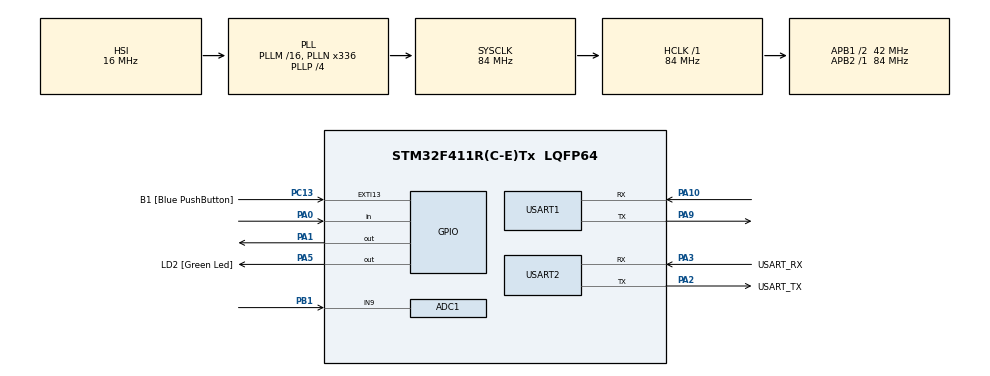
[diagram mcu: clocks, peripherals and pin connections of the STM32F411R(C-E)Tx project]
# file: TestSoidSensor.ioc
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ADC1.Channel-0\#ChannelRegularConversion=ADC_CHANNEL_9
ADC1.ContinuousConvMode=ENABLE
ADC1.DMAContinuousRequests=ENABLE
ADC1.NbrOfConversionFlag=1
ADC1.Rank-0\#ChannelRegularConversion=1
ADC1.SamplingTime-0\#ChannelRegularConversion=ADC_SAMPLETIME_3CYCLES
ADC1.ScanConvMode=ENABLE
ADC1.master=1
Dma.ADC1.0.Direction=DMA_PERIPH_TO_MEMORY
Dma.ADC1.0.FIFOMode=DMA_FIFOMODE_DISABLE
Dma.ADC1.0.Instance=DMA2_Stream0
Dma.ADC1.0.MemDataAlignment=DMA_MDATAALIGN_WORD
Dma.ADC1.0.MemInc=DMA_MINC_ENABLE
Dma.ADC1.0.Mode=DMA_CIRCULAR
Dma.ADC1.0.PeriphDataAlignment=DMA_PDATAALIGN_WORD
Dma.ADC1.0.PeriphInc=DMA_PINC_DISABLE
Dma.ADC1.0.Priority=DMA_PRIORITY_LOW
Dma.Request0=ADC1
Mcu.Family=STM32F4
Mcu.Name=STM32F411R(C-E)Tx
Mcu.Package=LQFP64
NVIC.DMA2_Stream0_IRQn=true\:0\:0\:false\:false\:true\:false\:true\:true
NVIC.PriorityGroup=NVIC_PRIORITYGROUP_0
PA0-WKUP.Signal=GPIO_Input
PA1.Signal=GPIO_Output
PA10.Mode=Asynchronous
PA10.Signal=USART1_RX
PA13.GPIO_Label=TMS
PA13.Mode=Serial_Wire
PA13.Signal=SYS_JTMS-SWDIO
PA14.GPIO_Label=TCK
PA14.Mode=Serial_Wire
PA14.Signal=SYS_JTCK-SWCLK
PA2.GPIO_Label=USART_TX
PA2.Mode=Asynchronous
PA2.Signal=USART2_TX
PA3.GPIO_Label=USART_RX
PA3.Mode=Asynchronous
PA3.Signal=USART2_RX
PA5.GPIO_Label=LD2 [Green Led]
PA5.Signal=GPIO_Output
PA9.Mode=Asynchronous
PA9.Signal=USART1_TX
PB1.Signal=ADCx_IN9
PB3.GPIO_Label=SWO
PB3.Signal=SYS_JTDO-SWO
PC13-ANTI_TAMP.GPIO_Label=B1 [Blue PushButton]
PC13-ANTI_TAMP.GPIO_ModeDefaultEXTI=GPIO_MODE_IT_FALLING
PC13-ANTI_TAMP.Signal=GPXTI13
PC14-OSC32_IN.Mode=LSE-External-Oscillator
PC14-OSC32_IN.Signal=RCC_OSC32_IN
PC15-OSC32_OUT.Mode=LSE-External-Oscillator
PC15-OSC32_OUT.Signal=RCC_OSC32_OUT
PH0\ -\ OSC_IN.Mode=HSE-External-Clock-Source
PH0\ -\ OSC_IN.Signal=RCC_OSC_IN
PH1\ -\ OSC_OUT.Mode=HSE-External-Clock-Source
PH1\ -\ OSC_OUT.Signal=RCC_OSC_OUT
ProjectManager.HeapSize=0x200
ProjectManager.StackSize=0x400
ProjectManager.TargetToolchain=STM32CubeIDE
RCC.48MHZClocksFreq_Value=84000000
RCC.AHBFreq_Value=84000000
RCC.APB1CLKDivider=RCC_HCLK_DIV2
RCC.APB1Freq_Value=42000000
RCC.APB1TimFreq_Value=84000000
RCC.APB2Freq_Value=84000000
RCC.APB2TimFreq_Value=84000000
RCC.CortexFreq_Value=84000000
RCC.FLatency-AdvancedSettings=FLASH_LATENCY_2
RCC.HCLKFreq_Value=84000000
RCC.HSE_VALUE=8000000
RCC.HSI_VALUE=16000000
RCC.PLLN=336
RCC.PLLP=RCC_PLLP_DIV4
RCC.SYSCLKFreq_VALUE=84000000
RCC.SYSCLKSource=RCC_SYSCLKSOURCE_PLLCLK
RCC.VCOOutputFreq_Value=336000000
SH.ADCx_IN9.0=ADC1_IN9,IN9
USART1.VirtualMode=VM_ASYNC
USART2.VirtualMode=VM_ASYNC
board=NUCLEO-F411RE

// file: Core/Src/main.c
/* USER CODE BEGIN Header */
/**
  ******************************************************************************
  * @file           : main.c
  * @brief          : Main program body
  ******************************************************************************
  * @attention
  *
  * Copyright (c) 2025 STMicroelectronics.
  * All rights reserved.
  *
  * This software is licensed under terms that can be found in the LICENSE file
  * in the root directory of this software component.
  * If no LICENSE file comes with this software, it is provided AS-IS.
  *
  ******************************************************************************
  */
/* USER CODE END Header */
#include "main.h"

/* USER CODE BEGIN Includes */
#include <stdio.h>
#include <string.h>
/* USER CODE END Includes */

/* USER CODE BEGIN PD */
#define BASE_DRY_THRESHOLD 3000 // Adjust based on your sensor calibration
#define HOT_TEMP_THRESHOLD 30   // If temp > 30C, water sooner
/* USER CODE END PD */

ADC_HandleTypeDef hadc1;
DMA_HandleTypeDef hdma_adc1;

UART_HandleTypeDef huart1;
UART_HandleTypeDef huart2;

/* USER CODE BEGIN PV */

uint8_t humidity_int, humidity_dec, temp_int, temp_dec, checksum;
/* USER CODE END PV */

void SystemClock_Config(void);
static void MX_GPIO_Init(void);
static void MX_DMA_Init(void);
static void MX_USART2_UART_Init(void);
static void MX_ADC1_Init(void);
static void MX_USART1_UART_Init(void);

/* USER CODE BEGIN 0 */
uint16_t soil_read[1];
char tx_buffer[20];

//uint8_t humidity_int;
//uint8_t temp_int;

uint8_t DHT11_Read(void);

int _write(int file, char *ptr, int len) {
    HAL_UART_Transmit(&huart2, (uint8_t*)ptr, len, HAL_MAX_DELAY);
    HAL_UART_Transmit(&huart1, (uint8_t*)ptr, len, HAL_MAX_DELAY);
    return len;
}

// Enable DWT cycle counter for microsecond delays
void DWT_Init(void) {
    CoreDebug->DEMCR |= CoreDebug_DEMCR_TRCENA_Msk;
    DWT->CTRL |= DWT_CTRL_CYCCNTENA_Msk;
}

void delay_us(uint32_t us) {
    uint32_t start = DWT->CYCCNT;
    uint32_t ticks = us * (SystemCoreClock / 1000000);
    while ((DWT->CYCCNT - start) < ticks);
}
/* USER CODE END 0 */

int main(void)
{

  /* MCU Configuration--------------------------------------------------------*/

  /* Reset of all peripherals, Initializes the Flash interface and the Systick. */
  HAL_Init();

  /* Configure the system clock */
  SystemClock_Config();

  /* Initialize all configured peripherals */
  MX_GPIO_Init();
  MX_DMA_Init();
  MX_USART2_UART_Init();
  MX_ADC1_Init();
  MX_USART1_UART_Init();
  /* USER CODE BEGIN 2 */
  HAL_ADC_Start_DMA(&hadc1, soil_read, 1);
  HAL_NVIC_DisableIRQ(DMA2_Stream0_IRQn);

  DWT_Init();
  /* USER CODE END 2 */

  /* Infinite loop */
  /* USER CODE BEGIN WHILE */
    while (1)
    {
        // 1. Read Sensors
        DHT11_Read(); // Updates temp_int and humidity_int

        // 2. Logic for Water Pump (Keep your existing logic here)
        uint16_t dynamic_threshold = BASE_DRY_THRESHOLD;
        int must_water = 0;

        if(temp_int > HOT_TEMP_THRESHOLD) dynamic_threshold -= 200;
        if(humidity_int > 80) dynamic_threshold += 100;

        if (soil_read[0] > dynamic_threshold) {
            must_water = 1;
        }

        if (must_water) {
            HAL_GPIO_TogglePin(GPIOA, GPIO_PIN_1);
        } else {
            HAL_GPIO_WritePin(GPIOA, GPIO_PIN_1, GPIO_PIN_RESET);
        }

        // 3. SEND DATA TO ESP32 (Formatted as JSON)
        // Format: {"data": {"temp": 28, "humid": 60, "soil": 3000, "pump": 1}}
        // Note: We increase buffer size slightly to be safe
        char json_buffer[100];
        sprintf(json_buffer, "{\"data\": {\"temp\": %d, \"humid\": %d, \"soil\": %u, \"pump\": %d}}\n",
                temp_int, humidity_int, soil_read[0], must_water);

        HAL_UART_Transmit(&huart2, (uint8_t*)json_buffer, strlen(json_buffer), 100);
        HAL_UART_Transmit(&huart1, (uint8_t*)json_buffer, strlen(json_buffer), 100);

        HAL_Delay(2000); // Send data every 2 seconds (don't flood NETPIE)

    /* USER CODE END WHILE */
    }
}

void SystemClock_Config(void)
{
  RCC_OscInitTypeDef RCC_OscInitStruct = {0};
  RCC_ClkInitTypeDef RCC_ClkInitStruct = {0};

  /** Configure the main internal regulator output voltage
  */
  __HAL_RCC_PWR_CLK_ENABLE();
  __HAL_PWR_VOLTAGESCALING_CONFIG(PWR_REGULATOR_VOLTAGE_SCALE1);

  /** Initializes the RCC Oscillators according to the specified parameters
  * in the RCC_OscInitTypeDef structure.
  */
  RCC_OscInitStruct.OscillatorType = RCC_OSCILLATORTYPE_HSI;
  RCC_OscInitStruct.HSIState = RCC_HSI_ON;
  RCC_OscInitStruct.HSICalibrationValue = RCC_HSICALIBRATION_DEFAULT;
  RCC_OscInitStruct.PLL.PLLState = RCC_PLL_ON;
  RCC_OscInitStruct.PLL.PLLSource = RCC_PLLSOURCE_HSI;
  RCC_OscInitStruct.PLL.PLLM = 16;
  RCC_OscInitStruct.PLL.PLLN = 336;
  RCC_OscInitStruct.PLL.PLLP = RCC_PLLP_DIV4;
  RCC_OscInitStruct.PLL.PLLQ = 4;
  if (HAL_RCC_OscConfig(&RCC_OscInitStruct) != HAL_OK)
  {
    Error_Handler();
  }

  /** Initializes the CPU, AHB and APB buses clocks
  */
  RCC_ClkInitStruct.ClockType = RCC_CLOCKTYPE_HCLK|RCC_CLOCKTYPE_SYSCLK
                              |RCC_CLOCKTYPE_PCLK1|RCC_CLOCKTYPE_PCLK2;
  RCC_ClkInitStruct.SYSCLKSource = RCC_SYSCLKSOURCE_PLLCLK;
  RCC_ClkInitStruct.AHBCLKDivider = RCC_SYSCLK_DIV1;
  RCC_ClkInitStruct.APB1CLKDivider = RCC_HCLK_DIV2;
  RCC_ClkInitStruct.APB2CLKDivider = RCC_HCLK_DIV1;

  if (HAL_RCC_ClockConfig(&RCC_ClkInitStruct, FLASH_LATENCY_2) != HAL_OK)
  {
    Error_Handler();
  }
}

static void MX_ADC1_Init(void)
{

  ADC_ChannelConfTypeDef sConfig = {0};

  /** Configure the global features of the ADC (Clock, Resolution, Data Alignment and number of conversion)
  */
  hadc1.Instance = ADC1;
  hadc1.Init.ClockPrescaler = ADC_CLOCK_SYNC_PCLK_DIV4;
  hadc1.Init.Resolution = ADC_RESOLUTION_12B;
  hadc1.Init.ScanConvMode = ENABLE;
  hadc1.Init.ContinuousConvMode = ENABLE;
  hadc1.Init.DiscontinuousConvMode = DISABLE;
  hadc1.Init.ExternalTrigConvEdge = ADC_EXTERNALTRIGCONVEDGE_NONE;
  hadc1.Init.ExternalTrigConv = ADC_SOFTWARE_START;
  hadc1.Init.DataAlign = ADC_DATAALIGN_RIGHT;
  hadc1.Init.NbrOfConversion = 1;
  hadc1.Init.DMAContinuousRequests = ENABLE;
  hadc1.Init.EOCSelection = ADC_EOC_SINGLE_CONV;
  if (HAL_ADC_Init(&hadc1) != HAL_OK)
  {
    Error_Handler();
  }

  /** Configure for the selected ADC regular channel its corresponding rank in the sequencer and its sample time.
  */
  sConfig.Channel = ADC_CHANNEL_9;
  sConfig.Rank = 1;
  sConfig.SamplingTime = ADC_SAMPLETIME_3CYCLES;
  if (HAL_ADC_ConfigChannel(&hadc1, &sConfig) != HAL_OK)
  {
    Error_Handler();
  }

}

static void MX_USART1_UART_Init(void)
{

  huart1.Instance = USART1;
  huart1.Init.BaudRate = 115200;
  huart1.Init.WordLength = UART_WORDLENGTH_8B;
  huart1.Init.StopBits = UART_STOPBITS_1;
  huart1.Init.Parity = UART_PARITY_NONE;
  huart1.Init.Mode = UART_MODE_TX_RX;
  huart1.Init.HwFlowCtl = UART_HWCONTROL_NONE;
  huart1.Init.OverSampling = UART_OVERSAMPLING_16;
  if (HAL_UART_Init(&huart1) != HAL_OK)
  {
    Error_Handler();
  }

}

static void MX_USART2_UART_Init(void)
{

  huart2.Instance = USART2;
  huart2.Init.BaudRate = 115200;
  huart2.Init.WordLength = UART_WORDLENGTH_8B;
  huart2.Init.StopBits = UART_STOPBITS_1;
  huart2.Init.Parity = UART_PARITY_NONE;
  huart2.Init.Mode = UART_MODE_TX_RX;
  huart2.Init.HwFlowCtl = UART_HWCONTROL_NONE;
  huart2.Init.OverSampling = UART_OVERSAMPLING_16;
  if (HAL_UART_Init(&huart2) != HAL_OK)
  {
    Error_Handler();
  }

}

static void MX_DMA_Init(void)
{

  /* DMA controller clock enable */
  __HAL_RCC_DMA2_CLK_ENABLE();

  /* DMA interrupt init */
  /* DMA2_Stream0_IRQn interrupt configuration */
  HAL_NVIC_SetPriority(DMA2_Stream0_IRQn, 0, 0);
  HAL_NVIC_EnableIRQ(DMA2_Stream0_IRQn);

}

static void MX_GPIO_Init(void)
{
  GPIO_InitTypeDef GPIO_InitStruct = {0};

  /* GPIO Ports Clock Enable */
  __HAL_RCC_GPIOC_CLK_ENABLE();
  __HAL_RCC_GPIOH_CLK_ENABLE();
  __HAL_RCC_GPIOA_CLK_ENABLE();
  __HAL_RCC_GPIOB_CLK_ENABLE();

  /*Configure GPIO pin Output Level */
  HAL_GPIO_WritePin(GPIOA, GPIO_PIN_1|LD2_Pin, GPIO_PIN_RESET);

  /*Configure GPIO pin : B1_Pin */
  GPIO_InitStruct.Pin = B1_Pin;
  GPIO_InitStruct.Mode = GPIO_MODE_IT_FALLING;
  GPIO_InitStruct.Pull = GPIO_NOPULL;
  HAL_GPIO_Init(B1_GPIO_Port, &GPIO_InitStruct);

  /*Configure GPIO pin : PA0 */
  GPIO_InitStruct.Pin = GPIO_PIN_0;
  GPIO_InitStruct.Mode = GPIO_MODE_INPUT;
  GPIO_InitStruct.Pull = GPIO_NOPULL;
  HAL_GPIO_Init(GPIOA, &GPIO_InitStruct);

  /*Configure GPIO pins : PA1 LD2_Pin */
  GPIO_InitStruct.Pin = GPIO_PIN_1|LD2_Pin;
  GPIO_InitStruct.Mode = GPIO_MODE_OUTPUT_PP;
  GPIO_InitStruct.Pull = GPIO_NOPULL;
  GPIO_InitStruct.Speed = GPIO_SPEED_FREQ_LOW;
  HAL_GPIO_Init(GPIOA, &GPIO_InitStruct);

}

/* USER CODE BEGIN 4 */
#define DHT11_PORT GPIOA
#define DHT11_PIN  GPIO_PIN_0

void DHT11_SetPinOutput(void) {
    GPIO_InitTypeDef GPIO_InitStruct = {0};
    GPIO_InitStruct.Pin = DHT11_PIN;
    GPIO_InitStruct.Mode = GPIO_MODE_OUTPUT_PP;
    GPIO_InitStruct.Speed = GPIO_SPEED_FREQ_HIGH;
    HAL_GPIO_Init(DHT11_PORT, &GPIO_InitStruct);
}

void DHT11_SetPinInput(void) {
    GPIO_InitTypeDef GPIO_InitStruct = {0};
    GPIO_InitStruct.Pin = DHT11_PIN;
    GPIO_InitStruct.Mode = GPIO_MODE_INPUT;
    GPIO_InitStruct.Pull = GPIO_NOPULL;
    HAL_GPIO_Init(DHT11_PORT, &GPIO_InitStruct);
}

void DHT11_Start(void) {
    DHT11_SetPinOutput();    // MCU drives the line

    HAL_GPIO_WritePin(DHT11_PORT, DHT11_PIN, GPIO_PIN_RESET);
    HAL_Delay(18);           // pull low for 18 ms

    HAL_GPIO_WritePin(DHT11_PORT, DHT11_PIN, GPIO_PIN_SET);
    delay_us(30);            // pull high for 20–40 us

    DHT11_SetPinInput();     // release, wait for response
}

uint8_t DHT11_CheckResponse(void) {
    uint8_t response = 0;
    delay_us(40);

    if (!HAL_GPIO_ReadPin(DHT11_PORT, DHT11_PIN)) {
        delay_us(80);
        if (HAL_GPIO_ReadPin(DHT11_PORT, DHT11_PIN)) response = 1;
        delay_us(80);
    }

    return response;
}

uint8_t DHT11_ReadBit(void) {
    while (!HAL_GPIO_ReadPin(DHT11_PORT, DHT11_PIN));  // wait for pin high
    delay_us(40);
    if (HAL_GPIO_ReadPin(DHT11_PORT, DHT11_PIN))
        return 1;
    else
        return 0;
}

uint8_t DHT11_ReadByte(void) {
    uint8_t i, result = 0;
    for (i = 0; i < 8; i++) {
        result <<= 1;
        result |= DHT11_ReadBit();
        while (HAL_GPIO_ReadPin(DHT11_PORT, DHT11_PIN)); // wait for low
    }
    return result;
}

uint8_t DHT11_Read(void) {
    uint8_t hum_i, hum_d, tem_i, tem_d, check; // Local variables

    DHT11_Start();
    if (DHT11_CheckResponse()) {
        hum_i = DHT11_ReadByte();
        hum_d = DHT11_ReadByte();
        tem_i = DHT11_ReadByte();
        tem_d = DHT11_ReadByte();
        check = DHT11_ReadByte();

        // Only update globals if checksum matches
        if ((hum_i + hum_d + tem_i + tem_d) == check) {
            humidity_int = hum_i;
            humidity_dec = hum_d;
            temp_int     = tem_i; // temp_int is only updated on SUCCESS now
            temp_dec     = tem_d;
            checksum     = check;
            return 1;  // OK
        }
    }
    return 0;  // FAIL
}

/* USER CODE END 4 */

void Error_Handler(void)
{
  __disable_irq();
  while (1)
  {
  }
}
